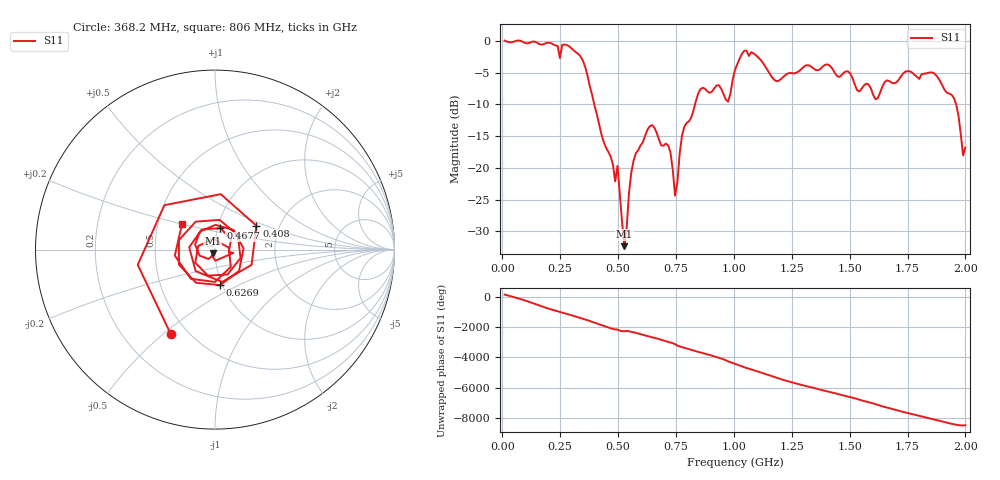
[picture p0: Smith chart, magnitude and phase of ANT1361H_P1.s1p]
!Created with skrf (http://scikit-rf.org).
# Hz S RI R 50.0
!freq ReS11 ImS11
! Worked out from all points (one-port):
!   201 points, 10 MHz to 2 GHz, reference 50 ohm
!   lowest |S11| = -32.3 dB at 527.4 MHz (marker M1), VSWR 1.05, Z = 48.7 - j2.03 ohm
!   |S11| at or under -10 dB: 397.1 MHz to 832.3 MHz (435.2 MHz wide, 70.8 % of centre); 1.96 GHz to end of sweep
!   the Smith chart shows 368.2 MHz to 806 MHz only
!   S11 on the Smith chart (normalised r, x): 368.2 MHz: 0.40, -0.53; 408 MHz: 1.52, +0.44; 467.7 MHz: 1.03, +0.25; 626.9 MHz: 0.98, -0.40; 806 MHz: 0.67, +0.20
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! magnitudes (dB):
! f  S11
! 10 MHz  0.1
! 258.8 MHz  -0.6
! 368.2 MHz  -5.5
! 408 MHz  -11.5
! 467.7 MHz  -18.2
! 487.6 MHz  -22.1
! 497.6 MHz  -19.7
! 507.5 MHz  -24.2
! 527.4 MHz  -32.3
! 567.2 MHz  -18.8
! 626.9 MHz  -14.0
! 716.5 MHz  -16.5
! 746.3 MHz  -24.4
! 756.2 MHz  -22.2
! 776.1 MHz  -14.9
! 806 MHz  -12.7
! 865.7 MHz  -7.4
! 975.1 MHz  -9.6
! 1.005 GHz  -4.6
! 1.055 GHz  -1.5
! 1.184 GHz  -6.3
! 1.254 GHz  -5.1
! 1.502 GHz  -5.1
! 1.612 GHz  -9.2
! 1.751 GHz  -4.7
! 1.94 GHz  -8.5
! 1.99 GHz  -18.0
! 2 GHz  -16.8
